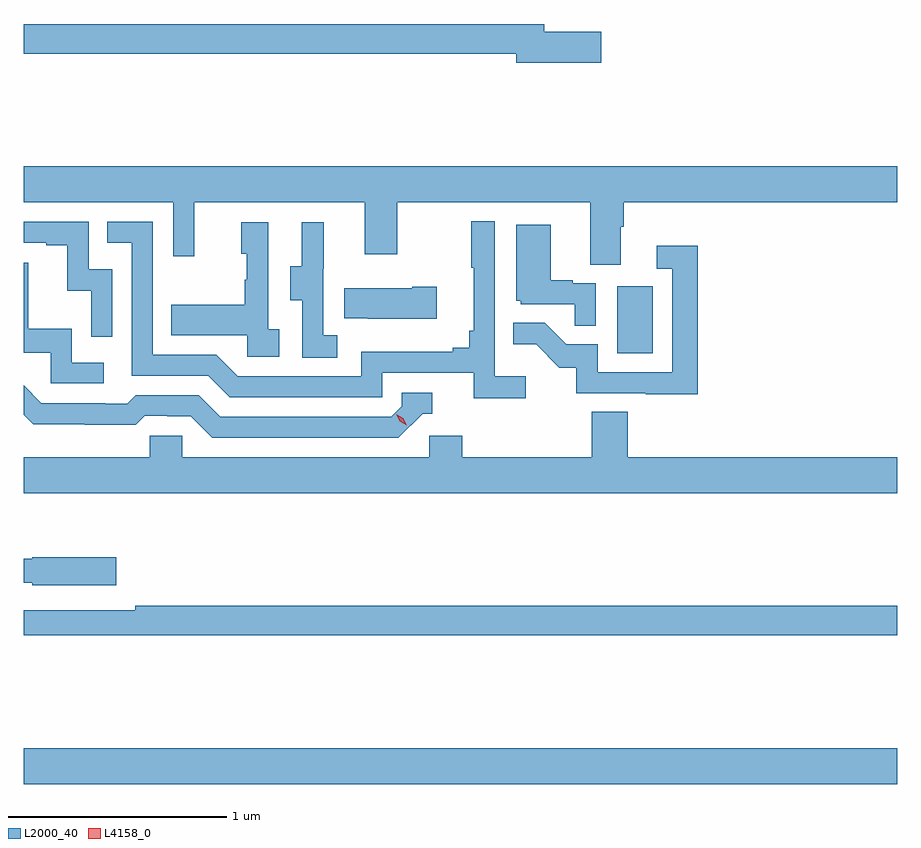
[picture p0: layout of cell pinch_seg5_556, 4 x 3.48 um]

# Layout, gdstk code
import gdstk
lib = gdstk.Library(unit=1e-6, precision=1e-09)
def R(c, l, rs):  # rectangles x0, y0, x1, y1
    for r in rs: c.add(gdstk.rectangle(r[:2], r[2:], *l))
def P(c, l, *ps):  # polygons
    for p in ps: c.add(gdstk.Polygon(p, *l))
L2000_40 = (2000, 40)
L4158_0 = (4158, 0)

pinch_seg5_556 = lib.new_cell('pinch_seg5_556')
R(pinch_seg5_556, L2000_40, [(997.365,838.112,1001.365,838.276), (1000.082,840.084,1000.246,840.391)])
P(pinch_seg5_556, L2000_40, [(1000.009,841.556),(999.748,841.556),(999.748,841.592),(997.365,841.592),(997.365,841.456),(999.62,841.456),(999.62,841.414),(1000.009,841.414)],
  [(1000.099,840.664),(1000.112,840.664),(1000.112,840.776),(1001.365,840.776),(1001.365,840.94),(997.365,840.94),(997.365,840.776),(998.049,840.776),(998.049,840.528),(998.147,840.528),(998.147,840.776),(998.927,840.776),(998.927,840.537),(999.075,840.537),(999.075,840.776),(999.959,840.776),(999.959,840.49),(1000.099,840.49)],
  [(999.664,839.98),(999.522,839.98),(999.522,840.688),(999.414,840.688),(999.414,840.475),(999.425,840.475),(999.425,840.187),(999.406,840.187),(999.406,840.11),(999.329,840.11),(999.329,840.091),(998.91,840.091),(998.91,839.979),(998.346,839.979),(998.247,840.078),(997.956,840.078),(997.956,840.687),(997.747,840.687),(997.747,840.591),(997.86,840.591),(997.86,839.982),(998.21,839.982),(998.309,839.883),(999.006,839.883),(999.006,839.994),(999.425,839.994),(999.425,839.878),(999.664,839.878)],
  [(997.77,840.468),(997.662,840.468),(997.662,840.687),(997.365,840.687),(997.365,840.591),(997.469,840.591),(997.469,840.579),(997.565,840.579),(997.565,840.371),(997.674,840.371),(997.674,840.159),(997.77,840.159)],
  [(998.536,840.194),(998.484,840.194),(998.484,840.685),(998.36,840.685),(998.36,840.54),(998.386,840.54),(998.386,840.422),(998.376,840.422),(998.376,840.307),(998.041,840.307),(998.041,840.167),(998.388,840.167),(998.388,840.069),(998.536,840.069)],
  [(998.8,840.167),(998.736,840.167),(998.736,840.471),(998.738,840.471),(998.738,840.685),(998.639,840.685),(998.639,840.483),(998.585,840.483),(998.585,840.328),(998.64,840.328),(998.64,840.064),(998.8,840.064)],
  [(999.984,840.405),(999.878,840.405),(999.878,840.418),(999.778,840.418),(999.778,840.673),(999.62,840.673),(999.62,840.324),(999.642,840.324),(999.642,840.309),(999.889,840.309),(999.889,840.211),(999.984,840.211)],
  [(1000.451,840.577),(1000.263,840.577),(1000.263,840.471),(1000.335,840.471),(1000.335,839.997),(999.993,839.997),(999.993,840.126),(999.849,840.126),(999.751,840.224),(999.607,840.224),(999.607,840.125),(999.711,840.125),(999.818,840.018),(999.895,840.018),(999.895,839.901),(1000.213,839.901),(1000.213,839.896),(1000.451,839.896)],
  [(997.732,840.042),(997.584,840.042),(997.584,840.196),(997.385,840.196),(997.385,840.499),(997.365,840.499),(997.365,840.087),(997.488,840.087),(997.488,839.946),(997.732,839.946)],
  [(999.256,840.39),(999.143,840.39),(999.143,840.382),(998.833,840.382),(998.833,840.245),(998.941,840.245),(998.941,840.242),(999.256,840.242)],
  [(999.192,839.808),(999.235,839.808),(999.235,839.904),(999.096,839.904),(999.096,839.841),(999.048,839.793),(998.265,839.793),(998.166,839.892),(997.877,839.892),(997.838,839.853),(997.739,839.853),(997.739,839.856),(997.446,839.856),(997.365,839.937),(997.365,839.802),(997.408,839.759),(997.644,839.759),(997.644,839.757),(997.877,839.757),(997.919,839.799),(998.022,839.799),(998.022,839.796),(998.129,839.796),(998.228,839.697),(999.081,839.697)],
  [(1001.365,839.608),(1000.13,839.608),(1000.13,839.816),(999.965,839.816),(999.965,839.608),(999.374,839.608),(999.374,839.706),(999.222,839.706),(999.222,839.608),(998.091,839.608),(998.091,839.706),(997.941,839.706),(997.941,839.608),(997.365,839.608),(997.365,839.444),(1001.365,839.444)],
  [(997.789,839.151),(997.404,839.151),(997.404,839.143),(997.365,839.143),(997.365,839.034),(997.404,839.034),(997.404,839.021),(997.789,839.021)],
  [(1001.365,838.928),(997.876,838.928),(997.876,838.908),(997.365,838.908),(997.365,838.792),(1001.365,838.792)])
P(pinch_seg5_556, L4158_0, [(999.118,839.754),(999.087,839.773),(999.07,839.806),(999.07,839.806),(999.071,839.806),(999.102,839.787),(999.119,839.754),(999.119,839.754)])

lib.write_gds('pinch_seg5_556.gds')
